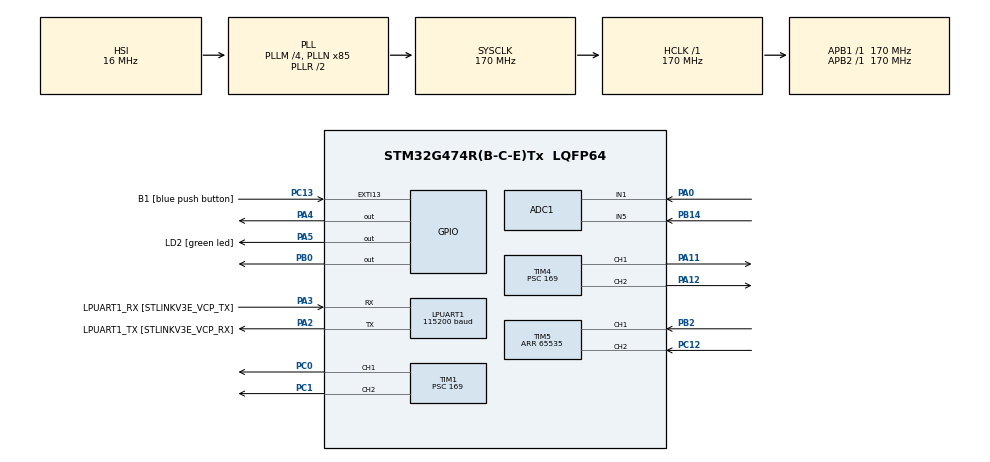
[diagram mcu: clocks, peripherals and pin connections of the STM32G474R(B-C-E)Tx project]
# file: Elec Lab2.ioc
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ADC1.Channel-3\#ChannelRegularConversion=ADC_CHANNEL_1
ADC1.Channel-4\#ChannelRegularConversion=ADC_CHANNEL_5
ADC1.ContinuousConvMode=DISABLE
ADC1.DMAContinuousRequests=ENABLE
ADC1.ExternalTrigConv=ADC_EXTERNALTRIG_T3_TRGO
ADC1.NbrOfConversion=2
ADC1.NbrOfConversionFlag=1
ADC1.OffsetNumber-3\#ChannelRegularConversion=ADC_OFFSET_NONE
ADC1.OffsetNumber-4\#ChannelRegularConversion=ADC_OFFSET_NONE
ADC1.Rank-3\#ChannelRegularConversion=1
ADC1.Rank-4\#ChannelRegularConversion=2
ADC1.SamplingTime-3\#ChannelRegularConversion=ADC_SAMPLETIME_640CYCLES_5
ADC1.SamplingTime-4\#ChannelRegularConversion=ADC_SAMPLETIME_640CYCLES_5
ADC1.master=1
ARM.CMSIS-DSP.1.15.0.CMSISJjDSP=Source
ARM.CMSIS.6.0.0.CMSISJjCORE=true
Dma.ADC1.0.Direction=DMA_PERIPH_TO_MEMORY
Dma.ADC1.0.EventEnable=DISABLE
Dma.ADC1.0.Instance=DMA1_Channel1
Dma.ADC1.0.MemDataAlignment=DMA_MDATAALIGN_HALFWORD
Dma.ADC1.0.MemInc=DMA_MINC_ENABLE
Dma.ADC1.0.Mode=DMA_CIRCULAR
Dma.ADC1.0.PeriphDataAlignment=DMA_PDATAALIGN_HALFWORD
Dma.ADC1.0.PeriphInc=DMA_PINC_DISABLE
Dma.ADC1.0.Polarity=HAL_DMAMUX_REQ_GEN_RISING
Dma.ADC1.0.Priority=DMA_PRIORITY_LOW
Dma.ADC1.0.RequestNumber=1
Dma.ADC1.0.SignalID=NONE
Dma.ADC1.0.SyncEnable=DISABLE
Dma.ADC1.0.SyncPolarity=HAL_DMAMUX_SYNC_NO_EVENT
Dma.ADC1.0.SyncRequestNumber=1
Dma.ADC1.0.SyncSignalID=NONE
Dma.Request0=ADC1
LPUART1.BaudRate=115200
LPUART1.WordLength=UART_WORDLENGTH_8B
Mcu.Family=STM32G4
Mcu.Name=STM32G474R(B-C-E)Tx
Mcu.Package=LQFP64
NVIC.ADC1_2_IRQn=true\:0\:0\:false\:false\:true\:true\:true\:true
NVIC.DMA1_Channel1_IRQn=true\:0\:0\:false\:false\:true\:false\:true\:true
NVIC.EXTI15_10_IRQn=true\:0\:0\:false\:false\:true\:true\:true\:true
NVIC.LPUART1_IRQn=true\:0\:0\:false\:false\:true\:true\:true\:true
NVIC.PriorityGroup=NVIC_PRIORITYGROUP_4
NVIC.TIM2_IRQn=true\:0\:0\:false\:false\:true\:true\:true\:true
NVIC.TIM3_IRQn=true\:0\:0\:false\:false\:true\:true\:true\:true
PA0.Mode=IN1-Single-Ended
PA0.Signal=ADC1_IN1
PA11.Signal=S_TIM4_CH1
PA12.Signal=S_TIM4_CH2
PA13.GPIO_Label=T_SWDIO
PA13.Mode=Trace_Asynchronous_SW
PA13.Signal=SYS_JTMS-SWDIO
PA14.GPIO_Label=T_SWCLK
PA14.Mode=Trace_Asynchronous_SW
PA14.Signal=SYS_JTCK-SWCLK
PA2.GPIO_Label=LPUART1_TX [STLINKV3E_VCP_RX]
PA2.Mode=Asynchronous
PA2.Signal=LPUART1_TX
PA3.GPIO_Label=LPUART1_RX [STLINKV3E_VCP_TX]
PA3.Mode=Asynchronous
PA3.Signal=LPUART1_RX
PA4.Signal=GPIO_Output
PA5.GPIO_Label=LD2 [green led]
PA5.Signal=GPIO_Output
PB0.Signal=GPIO_Output
PB14.Mode=IN5-Single-Ended
PB14.Signal=ADC1_IN5
PB2.Signal=S_TIM5_CH1
PB3.GPIO_Label=T_SWO
PB3.Mode=Trace_Asynchronous_SW
PB3.Signal=SYS_JTDO-SWO
PC0.Signal=S_TIM1_CH1
PC1.Signal=S_TIM1_CH2
PC12.Signal=S_TIM5_CH2
PC13.GPIO_Label=B1 [blue push button]
PC13.Signal=GPXTI13
PC14-OSC32_IN.Mode=LSE-External-Oscillator
PC14-OSC32_IN.Signal=RCC_OSC32_IN
PC15-OSC32_OUT.Mode=LSE-External-Oscillator
PC15-OSC32_OUT.Signal=RCC_OSC32_OUT
PF0-OSC_IN.Mode=HSE-External-Oscillator
PF0-OSC_IN.Signal=RCC_OSC_IN
PF1-OSC_OUT.Mode=HSE-External-Oscillator
PF1-OSC_OUT.Signal=RCC_OSC_OUT
ProjectManager.HeapSize=0x200
ProjectManager.StackSize=0x400
ProjectManager.TargetToolchain=STM32CubeIDE
RCC.ADC12Freq_Value=170000000
RCC.ADC345Freq_Value=170000000
RCC.AHBFreq_Value=170000000
RCC.APB1Freq_Value=170000000
RCC.APB1TimFreq_Value=170000000
RCC.APB2Freq_Value=170000000
RCC.APB2TimFreq_Value=170000000
RCC.CortexFreq_Value=170000000
RCC.EXTERNAL_CLOCK_VALUE=12288000
RCC.HCLKFreq_Value=170000000
RCC.HSE_VALUE=24000000
RCC.HSI48_VALUE=48000000
RCC.HSI_VALUE=16000000
RCC.PLLM=RCC_PLLM_DIV4
RCC.PLLN=85
RCC.RTCClockSelection=RCC_RTCCLKSOURCE_LSE
RCC.SYSCLKFreq_VALUE=170000000
RCC.SYSCLKSource=RCC_SYSCLKSOURCE_PLLCLK
RCC.USBFreq_Value=170000000
RCC.VCOOutputFreq_Value=340000000
SH.S_TIM1_CH1.0=TIM1_CH1,PWM Generation1 CH1
SH.S_TIM1_CH2.0=TIM1_CH2,PWM Generation2 CH2
SH.S_TIM4_CH1.0=TIM4_CH1,PWM Generation1 CH1
SH.S_TIM4_CH2.0=TIM4_CH2,PWM Generation2 CH2
SH.S_TIM5_CH1.0=TIM5_CH1,Encoder_Interface
SH.S_TIM5_CH2.0=TIM5_CH2,Encoder_Interface
TIM1.Channel-PWM\ Generation1\ CH1=TIM_CHANNEL_1
TIM1.Channel-PWM\ Generation2\ CH2=TIM_CHANNEL_2
TIM1.OCMode_PWM-PWM\ Generation2\ CH2=TIM_OCMODE_PWM1
TIM1.PeriodNoDither=32675
TIM1.Prescaler=169
TIM2.PeriodNoDither=999
TIM2.Prescaler=169
TIM2.TIM_MasterOutputTrigger=TIM_TRGO_UPDATE
TIM3.PeriodNoDither=999
TIM3.Prescaler=169
TIM3.TIM_MasterOutputTrigger=TIM_TRGO_UPDATE
TIM4.Channel-PWM\ Generation1\ CH1=TIM_CHANNEL_1
TIM4.Channel-PWM\ Generation2\ CH2=TIM_CHANNEL_2
TIM4.OCMode_PWM-PWM\ Generation2\ CH2=TIM_OCMODE_PWM1
TIM4.PeriodNoDither=32675
TIM4.Prescaler=169
TIM4.PulseNoDither_1=2000
TIM5.EncoderMode=TIM_ENCODERMODE_TI12
TIM5.PeriodNoDither=65535
VP_ARM.CMSIS-DSP_VS_CMSISJjDSP_1.15.0_1.15.0.Mode=CMSISJjDSP
VP_ARM.CMSIS_VS_CMSISJjCORE_6.0.0_6.0.0.Mode=CMSISJjCORE
VP_SYS_VS_DBSignals.Mode=DisableDeadBatterySignals
VP_TIM1_VS_ClockSourceINT.Mode=Internal
VP_TIM2_VS_ClockSourceINT.Mode=Internal
VP_TIM3_VS_ClockSourceINT.Mode=Internal
VP_TIM4_VS_ClockSourceINT.Mode=Internal
board=NUCLEO-G474RE

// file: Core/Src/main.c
/* USER CODE BEGIN Header */
/**
  ******************************************************************************
  * @file           : main.c
  * @brief          : Main program body
  ******************************************************************************
  * @attention
  *
  * Copyright (c) 2024 STMicroelectronics.
  * All rights reserved.
  *
  * This software is licensed under terms that can be found in the LICENSE file
  * in the root directory of this software component.
  * If no LICENSE file comes with this software, it is provided AS-IS.
  *
  ******************************************************************************
  */
/* USER CODE END Header */
#include "main.h"

/* USER CODE BEGIN Includes */
#include "stdio.h"
#include "string.h"
#include "arm_math.h"
/* USER CODE END Includes */

ADC_HandleTypeDef hadc1;
DMA_HandleTypeDef hdma_adc1;

UART_HandleTypeDef hlpuart1;

TIM_HandleTypeDef htim1;
TIM_HandleTypeDef htim2;
TIM_HandleTypeDef htim3;
TIM_HandleTypeDef htim4;
TIM_HandleTypeDef htim5;

/* USER CODE BEGIN PV */
int16_t x = 0;
int16_t y;
int16_t z;
uint32_t testpwm;
float inPos;
int32_t setPos;
float pos;
float set_pos;
int32_t posQEI;
float PWM1;
float PWM2;
////////////////////////////////////////////////////////////////
float QEIReadRaw;
float QEIReadOld;
float Degree;
uint16_t ADC_RawRead[2];
arm_pid_instance_f32 PID = {0};
int16_t posADC =0;
int16_t setADC =0;
int16_t prev_pos = 0;
float Vfeedback = 0;
float Vneg = 0;
uint16_t mode = 2;
////////////////////////////////////////////////////////////////
int16_t rxBuffer[4];
uint8_t a;
uint8_t b;
uint16_t set_ADC = 10;
uint8_t ADCst ;
uint8_t ADCnd ;
uint8_t txBuffer[4];

/* USER CODE END PV */

void SystemClock_Config(void);
static void MX_GPIO_Init(void);
static void MX_DMA_Init(void);
static void MX_LPUART1_UART_Init(void);
static void MX_ADC1_Init(void);
static void MX_TIM3_Init(void);
static void MX_TIM4_Init(void);
static void MX_TIM5_Init(void);
static void MX_TIM2_Init(void);
static void MX_TIM1_Init(void);
/* USER CODE BEGIN PFP */

void DriveF(void);
void DriveC(void);

void sendUartWithHeader(UART_HandleTypeDef *huart, uint8_t *data, uint8_t dataLength);
/* USER CODE END PFP */

int main(void)
{

  /* MCU Configuration--------------------------------------------------------*/

  /* Reset of all peripherals, Initializes the Flash interface and the Systick. */
  HAL_Init();

  /* Configure the system clock */
  SystemClock_Config();

  /* Initialize all configured peripherals */
  MX_GPIO_Init();
  MX_DMA_Init();
  MX_LPUART1_UART_Init();
  MX_ADC1_Init();
  MX_TIM3_Init();
  MX_TIM4_Init();
  MX_TIM5_Init();
  MX_TIM2_Init();
  MX_TIM1_Init();
  /* USER CODE BEGIN 2 */
  HAL_ADC_Start_DMA(&hadc1, ADC_RawRead, 2);
  HAL_TIM_Base_Start(&htim3);
  HAL_TIM_Base_Start(&htim4);
  HAL_TIM_Base_Start_IT(&htim2);
  HAL_TIM_Base_Start_IT(&htim3);
  HAL_TIM_PWM_Start(&htim1, TIM_CHANNEL_1);
  HAL_TIM_PWM_Start(&htim4, TIM_CHANNEL_1);
  HAL_TIM_PWM_Start(&htim1, TIM_CHANNEL_2);
  HAL_TIM_PWM_Start(&htim4, TIM_CHANNEL_2);
  HAL_TIM_Encoder_Start(&htim5,TIM_CHANNEL_ALL);

  PID.Kp =2;
  PID.Ki =0;
  PID.Kd = 0;
  set_pos = 0;
  z = 0;
  arm_pid_init_f32(&PID, 0);
  /* USER CODE END 2 */

  /* Infinite loop */
  while (1)
  {

    /* USER CODE BEGIN 3 */

//	  for (uint16_t i = 0; i < 100;i++)
//	  {
//		  x += ADC_RawRead[(i*2)];
//		  y += ADC_RawRead[(i*2)+1];
//	  }
//
//
	  setADC = ADC_RawRead[1];
//	  x = 0;
//	  y = 0;
//	  if(arm_abs_f32(ADC_RawRead, pDst, blockSize)(ADC_RawRead[0] - prev_pos) >= 2048){
//	  if(arm_a(ADC_RawRead, pDst, blockSize)(ADC_RawRead[0] - prev_pos) >= 2048){
//		  posADC = posADC + 4096 + (ADC_RawRead[0] - prev_pos);
//	  }else{
//		  posADC += ADC_RawRead[0] - prev_pos;
//	  }

	 // prev_pos = posADC;

	  if(mode == 0){
		  pos = x*360/4096;
		  set_pos = setADC*360/4096;
		  PID.Kp = 2;
		  Vfeedback = (arm_pid_f32(&PID, set_pos - pos))*32676/360;
		  HAL_GPIO_WritePin(GPIOA, GPIO_PIN_5, SET);
	  }
	  else if(mode == 1){
		  pos = posQEI*360/3072;
		  set_pos = setADC*360/4096;
		  PID.Kp = 2;
		  Vfeedback = (arm_pid_f32(&PID, set_pos - pos))*32676/360;
		  HAL_GPIO_WritePin(GPIOA, GPIO_PIN_5, RESET);
	  }
	  else if(mode == 2){
		  Vfeedback = (rxBuffer[1]*32676/(4))*(rxBuffer[2]-2);
//		  static uint16_t timestamp;
//		  if(HAL_GetTick()>=timestamp){
//			  HAL_GPIO_TogglePin(GPIOA, GPIO_PIN_5);
//			  timestamp = HAL_GetTick()+500;
//			  b += 1;
//		  }
	  }

////////////// SPEED LIMIT //////////////////////////////////////////////////
	  //ensure smooth speed , maximum speed
	  if(Vfeedback > 32676){
		  Vfeedback = 32676;
	  }
	  else if(Vfeedback < -32676){
		  Vfeedback = -32676;
	  }
////////////// PWM //////////////////////////////////////////////////////////
	  if(Vfeedback > 0){
		  PWM1 = Vfeedback;
		  PWM2 = 0;
	  }
	  else if(Vfeedback < 0){
		  PWM1 = 0;
		  PWM2 = Vfeedback * -1;
	  }
	  else{
		  PWM1 = 0;
		  PWM2 = 0;
	  }
////////////// MOTOR1 or MOTOR2 /////////////////////////////////////////////
	  if(mode == 1){
		  DriveF();
	  }
	  else{
		  DriveC();
	  }

  }
  /* USER CODE END 3 */
}

void SystemClock_Config(void)
{
  RCC_OscInitTypeDef RCC_OscInitStruct = {0};
  RCC_ClkInitTypeDef RCC_ClkInitStruct = {0};

  /** Configure the main internal regulator output voltage
  */
  HAL_PWREx_ControlVoltageScaling(PWR_REGULATOR_VOLTAGE_SCALE1_BOOST);

  /** Initializes the RCC Oscillators according to the specified parameters
  * in the RCC_OscInitTypeDef structure.
  */
  RCC_OscInitStruct.OscillatorType = RCC_OSCILLATORTYPE_HSI;
  RCC_OscInitStruct.HSIState = RCC_HSI_ON;
  RCC_OscInitStruct.HSICalibrationValue = RCC_HSICALIBRATION_DEFAULT;
  RCC_OscInitStruct.PLL.PLLState = RCC_PLL_ON;
  RCC_OscInitStruct.PLL.PLLSource = RCC_PLLSOURCE_HSI;
  RCC_OscInitStruct.PLL.PLLM = RCC_PLLM_DIV4;
  RCC_OscInitStruct.PLL.PLLN = 85;
  RCC_OscInitStruct.PLL.PLLP = RCC_PLLP_DIV2;
  RCC_OscInitStruct.PLL.PLLQ = RCC_PLLQ_DIV2;
  RCC_OscInitStruct.PLL.PLLR = RCC_PLLR_DIV2;
  if (HAL_RCC_OscConfig(&RCC_OscInitStruct) != HAL_OK)
  {
    Error_Handler();
  }

  /** Initializes the CPU, AHB and APB buses clocks
  */
  RCC_ClkInitStruct.ClockType = RCC_CLOCKTYPE_HCLK|RCC_CLOCKTYPE_SYSCLK
                              |RCC_CLOCKTYPE_PCLK1|RCC_CLOCKTYPE_PCLK2;
  RCC_ClkInitStruct.SYSCLKSource = RCC_SYSCLKSOURCE_PLLCLK;
  RCC_ClkInitStruct.AHBCLKDivider = RCC_SYSCLK_DIV1;
  RCC_ClkInitStruct.APB1CLKDivider = RCC_HCLK_DIV1;
  RCC_ClkInitStruct.APB2CLKDivider = RCC_HCLK_DIV1;

  if (HAL_RCC_ClockConfig(&RCC_ClkInitStruct, FLASH_LATENCY_4) != HAL_OK)
  {
    Error_Handler();
  }
}

static void MX_ADC1_Init(void)
{

  ADC_MultiModeTypeDef multimode = {0};
  ADC_ChannelConfTypeDef sConfig = {0};

  /** Common config
  */
  hadc1.Instance = ADC1;
  hadc1.Init.ClockPrescaler = ADC_CLOCK_SYNC_PCLK_DIV4;
  hadc1.Init.Resolution = ADC_RESOLUTION_12B;
  hadc1.Init.DataAlign = ADC_DATAALIGN_RIGHT;
  hadc1.Init.GainCompensation = 0;
  hadc1.Init.ScanConvMode = ADC_SCAN_ENABLE;
  hadc1.Init.EOCSelection = ADC_EOC_SINGLE_CONV;
  hadc1.Init.LowPowerAutoWait = DISABLE;
  hadc1.Init.ContinuousConvMode = DISABLE;
  hadc1.Init.NbrOfConversion = 2;
  hadc1.Init.DiscontinuousConvMode = DISABLE;
  hadc1.Init.ExternalTrigConv = ADC_EXTERNALTRIG_T3_TRGO;
  hadc1.Init.ExternalTrigConvEdge = ADC_EXTERNALTRIGCONVEDGE_RISING;
  hadc1.Init.DMAContinuousRequests = ENABLE;
  hadc1.Init.Overrun = ADC_OVR_DATA_PRESERVED;
  hadc1.Init.OversamplingMode = DISABLE;
  if (HAL_ADC_Init(&hadc1) != HAL_OK)
  {
    Error_Handler();
  }

  /** Configure the ADC multi-mode
  */
  multimode.Mode = ADC_MODE_INDEPENDENT;
  if (HAL_ADCEx_MultiModeConfigChannel(&hadc1, &multimode) != HAL_OK)
  {
    Error_Handler();
  }

  /** Configure Regular Channel
  */
  sConfig.Channel = ADC_CHANNEL_1;
  sConfig.Rank = ADC_REGULAR_RANK_1;
  sConfig.SamplingTime = ADC_SAMPLETIME_640CYCLES_5;
  sConfig.SingleDiff = ADC_SINGLE_ENDED;
  sConfig.OffsetNumber = ADC_OFFSET_NONE;
  sConfig.Offset = 0;
  if (HAL_ADC_ConfigChannel(&hadc1, &sConfig) != HAL_OK)
  {
    Error_Handler();
  }

  /** Configure Regular Channel
  */
  sConfig.Channel = ADC_CHANNEL_5;
  sConfig.Rank = ADC_REGULAR_RANK_2;
  if (HAL_ADC_ConfigChannel(&hadc1, &sConfig) != HAL_OK)
  {
    Error_Handler();
  }

}

static void MX_LPUART1_UART_Init(void)
{

  hlpuart1.Instance = LPUART1;
  hlpuart1.Init.BaudRate = 115200;
  hlpuart1.Init.WordLength = UART_WORDLENGTH_8B;
  hlpuart1.Init.StopBits = UART_STOPBITS_1;
  hlpuart1.Init.Parity = UART_PARITY_NONE;
  hlpuart1.Init.Mode = UART_MODE_TX_RX;
  hlpuart1.Init.HwFlowCtl = UART_HWCONTROL_NONE;
  hlpuart1.Init.OneBitSampling = UART_ONE_BIT_SAMPLE_DISABLE;
  hlpuart1.Init.ClockPrescaler = UART_PRESCALER_DIV1;
  hlpuart1.AdvancedInit.AdvFeatureInit = UART_ADVFEATURE_NO_INIT;
  if (HAL_UART_Init(&hlpuart1) != HAL_OK)
  {
    Error_Handler();
  }
  if (HAL_UARTEx_SetTxFifoThreshold(&hlpuart1, UART_TXFIFO_THRESHOLD_1_8) != HAL_OK)
  {
    Error_Handler();
  }
  if (HAL_UARTEx_SetRxFifoThreshold(&hlpuart1, UART_RXFIFO_THRESHOLD_1_8) != HAL_OK)
  {
    Error_Handler();
  }
  if (HAL_UARTEx_DisableFifoMode(&hlpuart1) != HAL_OK)
  {
    Error_Handler();
  }

}

static void MX_TIM1_Init(void)
{

  TIM_ClockConfigTypeDef sClockSourceConfig = {0};
  TIM_MasterConfigTypeDef sMasterConfig = {0};
  TIM_OC_InitTypeDef sConfigOC = {0};
  TIM_BreakDeadTimeConfigTypeDef sBreakDeadTimeConfig = {0};

  htim1.Instance = TIM1;
  htim1.Init.Prescaler = 169;
  htim1.Init.CounterMode = TIM_COUNTERMODE_UP;
  htim1.Init.Period = 32675;
  htim1.Init.ClockDivision = TIM_CLOCKDIVISION_DIV1;
  htim1.Init.RepetitionCounter = 0;
  htim1.Init.AutoReloadPreload = TIM_AUTORELOAD_PRELOAD_DISABLE;
  if (HAL_TIM_Base_Init(&htim1) != HAL_OK)
  {
    Error_Handler();
  }
  sClockSourceConfig.ClockSource = TIM_CLOCKSOURCE_INTERNAL;
  if (HAL_TIM_ConfigClockSource(&htim1, &sClockSourceConfig) != HAL_OK)
  {
    Error_Handler();
  }
  if (HAL_TIM_PWM_Init(&htim1) != HAL_OK)
  {
    Error_Handler();
  }
  sMasterConfig.MasterOutputTrigger = TIM_TRGO_RESET;
  sMasterConfig.MasterOutputTrigger2 = TIM_TRGO2_RESET;
  sMasterConfig.MasterSlaveMode = TIM_MASTERSLAVEMODE_DISABLE;
  if (HAL_TIMEx_MasterConfigSynchronization(&htim1, &sMasterConfig) != HAL_OK)
  {
    Error_Handler();
  }
  sConfigOC.OCMode = TIM_OCMODE_PWM1;
  sConfigOC.Pulse = 0;
  sConfigOC.OCPolarity = TIM_OCPOLARITY_HIGH;
  sConfigOC.OCNPolarity = TIM_OCNPOLARITY_HIGH;
  sConfigOC.OCFastMode = TIM_OCFAST_DISABLE;
  sConfigOC.OCIdleState = TIM_OCIDLESTATE_RESET;
  sConfigOC.OCNIdleState = TIM_OCNIDLESTATE_RESET;
  if (HAL_TIM_PWM_ConfigChannel(&htim1, &sConfigOC, TIM_CHANNEL_1) != HAL_OK)
  {
    Error_Handler();
  }
  if (HAL_TIM_PWM_ConfigChannel(&htim1, &sConfigOC, TIM_CHANNEL_2) != HAL_OK)
  {
    Error_Handler();
  }
  sBreakDeadTimeConfig.OffStateRunMode = TIM_OSSR_DISABLE;
  sBreakDeadTimeConfig.OffStateIDLEMode = TIM_OSSI_DISABLE;
  sBreakDeadTimeConfig.LockLevel = TIM_LOCKLEVEL_OFF;
  sBreakDeadTimeConfig.DeadTime = 0;
  sBreakDeadTimeConfig.BreakState = TIM_BREAK_DISABLE;
  sBreakDeadTimeConfig.BreakPolarity = TIM_BREAKPOLARITY_HIGH;
  sBreakDeadTimeConfig.BreakFilter = 0;
  sBreakDeadTimeConfig.BreakAFMode = TIM_BREAK_AFMODE_INPUT;
  sBreakDeadTimeConfig.Break2State = TIM_BREAK2_DISABLE;
  sBreakDeadTimeConfig.Break2Polarity = TIM_BREAK2POLARITY_HIGH;
  sBreakDeadTimeConfig.Break2Filter = 0;
  sBreakDeadTimeConfig.Break2AFMode = TIM_BREAK_AFMODE_INPUT;
  sBreakDeadTimeConfig.AutomaticOutput = TIM_AUTOMATICOUTPUT_DISABLE;
  if (HAL_TIMEx_ConfigBreakDeadTime(&htim1, &sBreakDeadTimeConfig) != HAL_OK)
  {
    Error_Handler();
  }
  HAL_TIM_MspPostInit(&htim1);

}

static void MX_TIM2_Init(void)
{

  TIM_ClockConfigTypeDef sClockSourceConfig = {0};
  TIM_MasterConfigTypeDef sMasterConfig = {0};

  htim2.Instance = TIM2;
  htim2.Init.Prescaler = 169;
  htim2.Init.CounterMode = TIM_COUNTERMODE_UP;
  htim2.Init.Period = 999;
  htim2.Init.ClockDivision = TIM_CLOCKDIVISION_DIV1;
  htim2.Init.AutoReloadPreload = TIM_AUTORELOAD_PRELOAD_DISABLE;
  if (HAL_TIM_Base_Init(&htim2) != HAL_OK)
  {
    Error_Handler();
  }
  sClockSourceConfig.ClockSource = TIM_CLOCKSOURCE_INTERNAL;
  if (HAL_TIM_ConfigClockSource(&htim2, &sClockSourceConfig) != HAL_OK)
  {
    Error_Handler();
  }
  sMasterConfig.MasterOutputTrigger = TIM_TRGO_UPDATE;
  sMasterConfig.MasterSlaveMode = TIM_MASTERSLAVEMODE_DISABLE;
  if (HAL_TIMEx_MasterConfigSynchronization(&htim2, &sMasterConfig) != HAL_OK)
  {
    Error_Handler();
  }

}

static void MX_TIM3_Init(void)
{

  TIM_ClockConfigTypeDef sClockSourceConfig = {0};
  TIM_MasterConfigTypeDef sMasterConfig = {0};

  htim3.Instance = TIM3;
  htim3.Init.Prescaler = 169;
  htim3.Init.CounterMode = TIM_COUNTERMODE_UP;
  htim3.Init.Period = 999;
  htim3.Init.ClockDivision = TIM_CLOCKDIVISION_DIV1;
  htim3.Init.AutoReloadPreload = TIM_AUTORELOAD_PRELOAD_DISABLE;
  if (HAL_TIM_Base_Init(&htim3) != HAL_OK)
  {
    Error_Handler();
  }
  sClockSourceConfig.ClockSource = TIM_CLOCKSOURCE_INTERNAL;
  if (HAL_TIM_ConfigClockSource(&htim3, &sClockSourceConfig) != HAL_OK)
  {
    Error_Handler();
  }
  sMasterConfig.MasterOutputTrigger = TIM_TRGO_UPDATE;
  sMasterConfig.MasterSlaveMode = TIM_MASTERSLAVEMODE_DISABLE;
  if (HAL_TIMEx_MasterConfigSynchronization(&htim3, &sMasterConfig) != HAL_OK)
  {
    Error_Handler();
  }

}

static void MX_TIM4_Init(void)
{

  TIM_ClockConfigTypeDef sClockSourceConfig = {0};
  TIM_MasterConfigTypeDef sMasterConfig = {0};
  TIM_OC_InitTypeDef sConfigOC = {0};

  htim4.Instance = TIM4;
  htim4.Init.Prescaler = 169;
  htim4.Init.CounterMode = TIM_COUNTERMODE_UP;
  htim4.Init.Period = 32675;
  htim4.Init.ClockDivision = TIM_CLOCKDIVISION_DIV1;
  htim4.Init.AutoReloadPreload = TIM_AUTORELOAD_PRELOAD_DISABLE;
  if (HAL_TIM_Base_Init(&htim4) != HAL_OK)
  {
    Error_Handler();
  }
  sClockSourceConfig.ClockSource = TIM_CLOCKSOURCE_INTERNAL;
  if (HAL_TIM_ConfigClockSource(&htim4, &sClockSourceConfig) != HAL_OK)
  {
    Error_Handler();
  }
  if (HAL_TIM_PWM_Init(&htim4) != HAL_OK)
  {
    Error_Handler();
  }
  sMasterConfig.MasterOutputTrigger = TIM_TRGO_RESET;
  sMasterConfig.MasterSlaveMode = TIM_MASTERSLAVEMODE_DISABLE;
  if (HAL_TIMEx_MasterConfigSynchronization(&htim4, &sMasterConfig) != HAL_OK)
  {
    Error_Handler();
  }
  sConfigOC.OCMode = TIM_OCMODE_PWM1;
  sConfigOC.Pulse = 2000;
  sConfigOC.OCPolarity = TIM_OCPOLARITY_HIGH;
  sConfigOC.OCFastMode = TIM_OCFAST_DISABLE;
  if (HAL_TIM_PWM_ConfigChannel(&htim4, &sConfigOC, TIM_CHANNEL_1) != HAL_OK)
  {
    Error_Handler();
  }
  sConfigOC.Pulse = 0;
  if (HAL_TIM_PWM_ConfigChannel(&htim4, &sConfigOC, TIM_CHANNEL_2) != HAL_OK)
  {
    Error_Handler();
  }
  HAL_TIM_MspPostInit(&htim4);

}

static void MX_TIM5_Init(void)
{

  TIM_Encoder_InitTypeDef sConfig = {0};
  TIM_MasterConfigTypeDef sMasterConfig = {0};

  htim5.Instance = TIM5;
  htim5.Init.Prescaler = 0;
  htim5.Init.CounterMode = TIM_COUNTERMODE_UP;
  htim5.Init.Period = 65535;
  htim5.Init.ClockDivision = TIM_CLOCKDIVISION_DIV1;
  htim5.Init.AutoReloadPreload = TIM_AUTORELOAD_PRELOAD_DISABLE;
  sConfig.EncoderMode = TIM_ENCODERMODE_TI12;
  sConfig.IC1Polarity = TIM_ICPOLARITY_RISING;
  sConfig.IC1Selection = TIM_ICSELECTION_DIRECTTI;
  sConfig.IC1Prescaler = TIM_ICPSC_DIV1;
  sConfig.IC1Filter = 0;
  sConfig.IC2Polarity = TIM_ICPOLARITY_RISING;
  sConfig.IC2Selection = TIM_ICSELECTION_DIRECTTI;
  sConfig.IC2Prescaler = TIM_ICPSC_DIV1;
  sConfig.IC2Filter = 0;
  if (HAL_TIM_Encoder_Init(&htim5, &sConfig) != HAL_OK)
  {
    Error_Handler();
  }
  sMasterConfig.MasterOutputTrigger = TIM_TRGO_RESET;
  sMasterConfig.MasterSlaveMode = TIM_MASTERSLAVEMODE_DISABLE;
  if (HAL_TIMEx_MasterConfigSynchronization(&htim5, &sMasterConfig) != HAL_OK)
  {
    Error_Handler();
  }

}

static void MX_DMA_Init(void)
{

  /* DMA controller clock enable */
  __HAL_RCC_DMAMUX1_CLK_ENABLE();
  __HAL_RCC_DMA1_CLK_ENABLE();

  /* DMA interrupt init */
  /* DMA1_Channel1_IRQn interrupt configuration */
  HAL_NVIC_SetPriority(DMA1_Channel1_IRQn, 0, 0);
  HAL_NVIC_EnableIRQ(DMA1_Channel1_IRQn);

}

static void MX_GPIO_Init(void)
{
  GPIO_InitTypeDef GPIO_InitStruct = {0};

  /* GPIO Ports Clock Enable */
  __HAL_RCC_GPIOC_CLK_ENABLE();
  __HAL_RCC_GPIOF_CLK_ENABLE();
  __HAL_RCC_GPIOA_CLK_ENABLE();
  __HAL_RCC_GPIOB_CLK_ENABLE();

  /*Configure GPIO pin Output Level */
  HAL_GPIO_WritePin(GPIOA, GPIO_PIN_4|LD2_Pin, GPIO_PIN_RESET);

  /*Configure GPIO pin Output Level */
  HAL_GPIO_WritePin(GPIOB, GPIO_PIN_0, GPIO_PIN_RESET);

  /*Configure GPIO pin : B1_Pin */
  GPIO_InitStruct.Pin = B1_Pin;
  GPIO_InitStruct.Mode = GPIO_MODE_IT_RISING;
  GPIO_InitStruct.Pull = GPIO_NOPULL;
  HAL_GPIO_Init(B1_GPIO_Port, &GPIO_InitStruct);

  /*Configure GPIO pins : PA4 LD2_Pin */
  GPIO_InitStruct.Pin = GPIO_PIN_4|LD2_Pin;
  GPIO_InitStruct.Mode = GPIO_MODE_OUTPUT_PP;
  GPIO_InitStruct.Pull = GPIO_NOPULL;
  GPIO_InitStruct.Speed = GPIO_SPEED_FREQ_LOW;
  HAL_GPIO_Init(GPIOA, &GPIO_InitStruct);

  /*Configure GPIO pin : PB0 */
  GPIO_InitStruct.Pin = GPIO_PIN_0;
  GPIO_InitStruct.Mode = GPIO_MODE_OUTPUT_PP;
  GPIO_InitStruct.Pull = GPIO_NOPULL;
  GPIO_InitStruct.Speed = GPIO_SPEED_FREQ_LOW;
  HAL_GPIO_Init(GPIOB, &GPIO_InitStruct);

  /* EXTI interrupt init*/
  HAL_NVIC_SetPriority(EXTI15_10_IRQn, 0, 0);
  HAL_NVIC_EnableIRQ(EXTI15_10_IRQn);

}

/* USER CODE BEGIN 4 */
void HAL_GPIO_EXTI_Callback(uint16_t GPIO_Pin)
{ //B1 button
    if (GPIO_Pin == GPIO_PIN_13) {
        // Blue button interrupt occurred
        // Your code here
    	mode = mode + 1;
    	mode = mode % 3;
    }
}

void HAL_TIM_PeriodElapsedCallback(TIM_HandleTypeDef *htim) // Input reading
{
  if (htim == &htim2 )
  {
	  a +=1;
	  a = a%5;
	  if (mode ==2 && a == 0)
	  {
		  ADCst = (uint8_t)(ADC_RawRead[0] & 0xFF);
		  ADCnd = (uint8_t)((ADC_RawRead[0] >> 8) & 0xFF);

		  txBuffer[0] = 69;
		  txBuffer[1] = ADCst;
		  txBuffer[2] = ADCnd;
		  txBuffer[3] = '\n';
		  HAL_UART_Transmit_IT(&hlpuart1, txBuffer , 5);
		  HAL_UART_Receive_IT(&hlpuart1, rxBuffer, 5);

		  //rxBuffer[2] = (rxBuffer[0])/256;
	  }
	  else if(mode == 1)
	  {
		  QEIReadRaw = __HAL_TIM_GET_COUNTER(&htim5);
		  //spd =  QEIReadRaw * 1000 / 250 * 8;
		  if(QEIReadRaw > 32678)
		  {
			  posQEI -= (65536-QEIReadRaw);
			  z = 1;
		  }
		  else
		  {
			  posQEI += QEIReadRaw;
			  z = 2;
		  }
		  __HAL_TIM_SET_COUNTER(&htim5, 0);
	  }

	  else if(mode == 0 || mode == 2)
	  {
		  posADC = ADC_RawRead[0];
		  if(posADC-prev_pos < -2048)
		  { //forward callback
//			  x += (4096+(posADC-prev_pos));
			  x += (4096+(posADC-prev_pos)) ;
		  }
		  else if(posADC-prev_pos > 2048){ //reverse callback
			  x -= (4096-(posADC-prev_pos));
		  }
		  else{
			  x += (posADC-prev_pos);
		  }

		  prev_pos = posADC;
	  }
  }
//////////////////////////////UART//////////////////////////
  if(htim == &htim3)
  {
  }
}

void DriveF(void)
{
	  __HAL_TIM_SET_COMPARE(&htim4, TIM_CHANNEL_2, 0);
	  __HAL_TIM_SET_COMPARE(&htim1, TIM_CHANNEL_2, 0);
	  __HAL_TIM_SET_COMPARE(&htim4, TIM_CHANNEL_1, PWM1);
	  __HAL_TIM_SET_COMPARE(&htim1, TIM_CHANNEL_1, PWM2);

}
void DriveC(void){
	  __HAL_TIM_SET_COMPARE(&htim4, TIM_CHANNEL_1, 0);
	  __HAL_TIM_SET_COMPARE(&htim1, TIM_CHANNEL_1, 0);
	  __HAL_TIM_SET_COMPARE(&htim4, TIM_CHANNEL_2, PWM1);
	  __HAL_TIM_SET_COMPARE(&htim1, TIM_CHANNEL_2, PWM2);
}
/* USER CODE END 4 */

void Error_Handler(void)
{
  __disable_irq();
  while (1)
  {
  }
}
